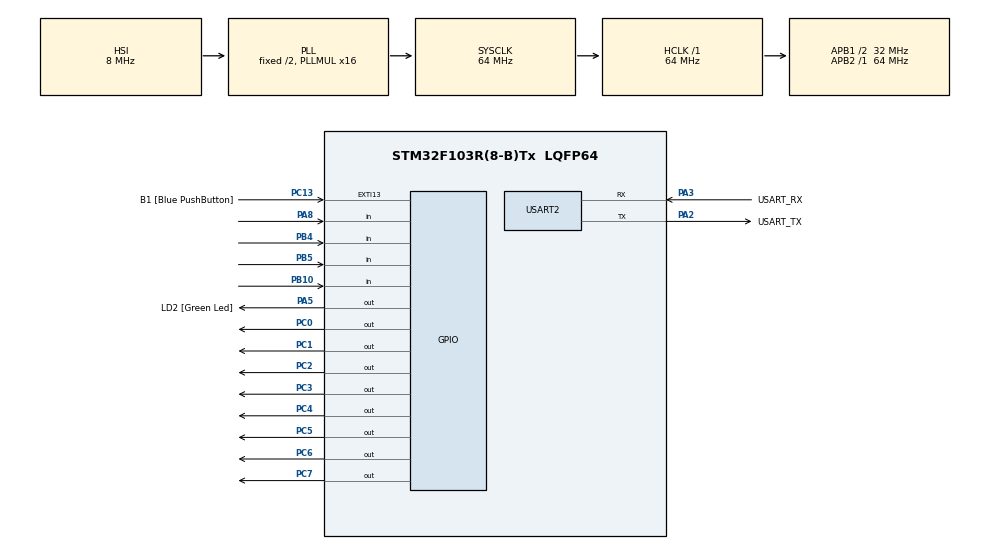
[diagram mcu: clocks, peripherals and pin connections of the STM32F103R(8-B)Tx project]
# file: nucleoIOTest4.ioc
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Mcu.Family=STM32F1
Mcu.Name=STM32F103R(8-B)Tx
Mcu.Package=LQFP64
NVIC.EXTI15_10_IRQn=true\:0\:0\:false\:false\:true\:true\:true\:true
NVIC.PriorityGroup=NVIC_PRIORITYGROUP_4
PA13.GPIO_Label=TMS
PA13.Mode=Serial_Wire
PA13.Signal=SYS_JTMS-SWDIO
PA14.GPIO_Label=TCK
PA14.Mode=Serial_Wire
PA14.Signal=SYS_JTCK-SWCLK
PA2.GPIO_Label=USART_TX
PA2.GPIO_Mode=GPIO_MODE_AF_PP
PA2.GPIO_PuPd=GPIO_NOPULL
PA2.GPIO_Speed=GPIO_SPEED_FREQ_LOW
PA2.Mode=Asynchronous
PA2.Signal=USART2_TX
PA3.GPIO_Label=USART_RX
PA3.GPIO_Mode=GPIO_MODE_AF_PP
PA3.GPIO_PuPd=GPIO_NOPULL
PA3.GPIO_Speed=GPIO_SPEED_FREQ_LOW
PA3.Mode=Asynchronous
PA3.Signal=USART2_RX
PA5.GPIO_Label=LD2 [Green Led]
PA5.GPIO_ModeDefaultOutputPP=GPIO_MODE_OUTPUT_PP
PA5.GPIO_PuPd=GPIO_NOPULL
PA5.GPIO_Speed=GPIO_SPEED_FREQ_LOW
PA5.Signal=GPIO_Output
PA8.Signal=GPIO_Input
PB10.Signal=GPIO_Input
PB3.GPIO_Label=SWO
PB3.Signal=SYS_JTDO-TRACESWO
PB4.Signal=GPIO_Input
PB5.Signal=GPIO_Input
PC0.Signal=GPIO_Output
PC1.Signal=GPIO_Output
PC13-TAMPER-RTC.GPIO_Label=B1 [Blue PushButton]
PC13-TAMPER-RTC.GPIO_PuPd=GPIO_NOPULL
PC13-TAMPER-RTC.Signal=GPXTI13
PC14-OSC32_IN.Mode=LSE-External-Oscillator
PC14-OSC32_IN.Signal=RCC_OSC32_IN
PC15-OSC32_OUT.Mode=LSE-External-Oscillator
PC15-OSC32_OUT.Signal=RCC_OSC32_OUT
PC2.Signal=GPIO_Output
PC3.Signal=GPIO_Output
PC4.Signal=GPIO_Output
PC5.Signal=GPIO_Output
PC6.Signal=GPIO_Output
PC7.Signal=GPIO_Output
PD0-OSC_IN.Mode=HSE-External-Clock-Source
PD0-OSC_IN.Signal=RCC_OSC_IN
PD1-OSC_OUT.Mode=HSE-External-Clock-Source
PD1-OSC_OUT.Signal=RCC_OSC_OUT
ProjectManager.HeapSize=0x200
ProjectManager.StackSize=0x400
ProjectManager.TargetToolchain=STM32CubeIDE
RCC.AHBFreq_Value=64000000
RCC.APB1CLKDivider=RCC_HCLK_DIV2
RCC.APB1Freq_Value=32000000
RCC.APB1TimFreq_Value=64000000
RCC.APB2Freq_Value=64000000
RCC.APB2TimFreq_Value=64000000
RCC.HCLKFreq_Value=64000000
RCC.PLLMUL=RCC_PLL_MUL16
RCC.RTCClockSelection=RCC_RTCCLKSOURCE_LSE
RCC.SYSCLKFreq_VALUE=64000000
RCC.SYSCLKSource=RCC_SYSCLKSOURCE_PLLCLK
RCC.USBFreq_Value=64000000
USART2.VirtualMode=VM_ASYNC
board=NUCLEO-F103RB

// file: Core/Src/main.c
/* USER CODE BEGIN Header */
/**
  ******************************************************************************
  * @file           : main.c
  * @brief          : Main program body
  ******************************************************************************
  * @attention
  *
  * Copyright (c) 2022 STMicroelectronics.
  * All rights reserved.
  *
  * This software is licensed under terms that can be found in the LICENSE file
  * in the root directory of this software component.
  * If no LICENSE file comes with this software, it is provided AS-IS.
  *
  ******************************************************************************
  */
/* USER CODE END Header */
#include "main.h"

 UART_HandleTypeDef huart2;

void SystemClock_Config(void);
static void MX_GPIO_Init(void);
static void MX_USART2_UART_Init(void);

int main(void)
{

  /* MCU Configuration--------------------------------------------------------*/

  /* Reset of all peripherals, Initializes the Flash interface and the Systick. */
  HAL_Init();

  /* Configure the system clock */
  SystemClock_Config();

  /* Initialize all configured peripherals */
  MX_GPIO_Init();
  MX_USART2_UART_Init();
  /* USER CODE BEGIN 2 */
  int swNum = 0;
  /* USER CODE END 2 */

  /* Infinite loop */
  while (1)
  {

    /* USER CODE BEGIN 3 */
	  if(HAL_GPIO_ReadPin(GPIOA, GPIO_PIN_8)==GPIO_PIN_RESET)
	  {
		  HAL_GPIO_WritePin(GPIOC, 0x03, GPIO_PIN_SET);
		  HAL_Delay(2000);
		  HAL_GPIO_WritePin(GPIOC, 0x03, GPIO_PIN_RESET);
	  }
	  else if(HAL_GPIO_ReadPin(GPIOB, GPIO_PIN_4)==GPIO_PIN_RESET)
		  {
			  HAL_GPIO_WritePin(GPIOC, 0x0C, GPIO_PIN_SET);
			  HAL_Delay(2000);
			  HAL_GPIO_WritePin(GPIOC, 0x0C, GPIO_PIN_RESET);
		  }
	  else if(HAL_GPIO_ReadPin(GPIOB, GPIO_PIN_5)==GPIO_PIN_RESET)
		  {
			  HAL_GPIO_WritePin(GPIOC, 0x30, GPIO_PIN_SET);
			  HAL_Delay(2000);
			  HAL_GPIO_WritePin(GPIOC, 0x30, GPIO_PIN_RESET);
		  }
	  else if(HAL_GPIO_ReadPin(GPIOB, GPIO_PIN_10)==GPIO_PIN_RESET)
		  {
			  HAL_GPIO_WritePin(GPIOC, 0xC0, GPIO_PIN_SET);
			  HAL_Delay(2000);
			  HAL_GPIO_WritePin(GPIOC, 0xC0, GPIO_PIN_RESET);
		  }
  }
  /* USER CODE END 3 */
}

void SystemClock_Config(void)
{
  RCC_OscInitTypeDef RCC_OscInitStruct = {0};
  RCC_ClkInitTypeDef RCC_ClkInitStruct = {0};

  /** Initializes the RCC Oscillators according to the specified parameters
  * in the RCC_OscInitTypeDef structure.
  */
  RCC_OscInitStruct.OscillatorType = RCC_OSCILLATORTYPE_HSI;
  RCC_OscInitStruct.HSIState = RCC_HSI_ON;
  RCC_OscInitStruct.HSICalibrationValue = RCC_HSICALIBRATION_DEFAULT;
  RCC_OscInitStruct.PLL.PLLState = RCC_PLL_ON;
  RCC_OscInitStruct.PLL.PLLSource = RCC_PLLSOURCE_HSI_DIV2;
  RCC_OscInitStruct.PLL.PLLMUL = RCC_PLL_MUL16;
  if (HAL_RCC_OscConfig(&RCC_OscInitStruct) != HAL_OK)
  {
    Error_Handler();
  }

  /** Initializes the CPU, AHB and APB buses clocks
  */
  RCC_ClkInitStruct.ClockType = RCC_CLOCKTYPE_HCLK|RCC_CLOCKTYPE_SYSCLK
                              |RCC_CLOCKTYPE_PCLK1|RCC_CLOCKTYPE_PCLK2;
  RCC_ClkInitStruct.SYSCLKSource = RCC_SYSCLKSOURCE_PLLCLK;
  RCC_ClkInitStruct.AHBCLKDivider = RCC_SYSCLK_DIV1;
  RCC_ClkInitStruct.APB1CLKDivider = RCC_HCLK_DIV2;
  RCC_ClkInitStruct.APB2CLKDivider = RCC_HCLK_DIV1;

  if (HAL_RCC_ClockConfig(&RCC_ClkInitStruct, FLASH_LATENCY_2) != HAL_OK)
  {
    Error_Handler();
  }
}

static void MX_USART2_UART_Init(void)
{

  huart2.Instance = USART2;
  huart2.Init.BaudRate = 115200;
  huart2.Init.WordLength = UART_WORDLENGTH_8B;
  huart2.Init.StopBits = UART_STOPBITS_1;
  huart2.Init.Parity = UART_PARITY_NONE;
  huart2.Init.Mode = UART_MODE_TX_RX;
  huart2.Init.HwFlowCtl = UART_HWCONTROL_NONE;
  huart2.Init.OverSampling = UART_OVERSAMPLING_16;
  if (HAL_UART_Init(&huart2) != HAL_OK)
  {
    Error_Handler();
  }

}

static void MX_GPIO_Init(void)
{
  GPIO_InitTypeDef GPIO_InitStruct = {0};

  /* GPIO Ports Clock Enable */
  __HAL_RCC_GPIOC_CLK_ENABLE();
  __HAL_RCC_GPIOD_CLK_ENABLE();
  __HAL_RCC_GPIOA_CLK_ENABLE();
  __HAL_RCC_GPIOB_CLK_ENABLE();

  /*Configure GPIO pin Output Level */
  HAL_GPIO_WritePin(GPIOC, GPIO_PIN_0|GPIO_PIN_1|GPIO_PIN_2|GPIO_PIN_3
                          |GPIO_PIN_4|GPIO_PIN_5|GPIO_PIN_6|GPIO_PIN_7, GPIO_PIN_RESET);

  /*Configure GPIO pin Output Level */
  HAL_GPIO_WritePin(LD2_GPIO_Port, LD2_Pin, GPIO_PIN_RESET);

  /*Configure GPIO pin : B1_Pin */
  GPIO_InitStruct.Pin = B1_Pin;
  GPIO_InitStruct.Mode = GPIO_MODE_IT_RISING;
  GPIO_InitStruct.Pull = GPIO_NOPULL;
  HAL_GPIO_Init(B1_GPIO_Port, &GPIO_InitStruct);

  /*Configure GPIO pins : PC0 PC1 PC2 PC3
                           PC4 PC5 PC6 PC7 */
  GPIO_InitStruct.Pin = GPIO_PIN_0|GPIO_PIN_1|GPIO_PIN_2|GPIO_PIN_3
                          |GPIO_PIN_4|GPIO_PIN_5|GPIO_PIN_6|GPIO_PIN_7;
  GPIO_InitStruct.Mode = GPIO_MODE_OUTPUT_PP;
  GPIO_InitStruct.Pull = GPIO_NOPULL;
  GPIO_InitStruct.Speed = GPIO_SPEED_FREQ_LOW;
  HAL_GPIO_Init(GPIOC, &GPIO_InitStruct);

  /*Configure GPIO pin : LD2_Pin */
  GPIO_InitStruct.Pin = LD2_Pin;
  GPIO_InitStruct.Mode = GPIO_MODE_OUTPUT_PP;
  GPIO_InitStruct.Pull = GPIO_NOPULL;
  GPIO_InitStruct.Speed = GPIO_SPEED_FREQ_LOW;
  HAL_GPIO_Init(LD2_GPIO_Port, &GPIO_InitStruct);

  /*Configure GPIO pins : PB10 PB4 PB5 */
  GPIO_InitStruct.Pin = GPIO_PIN_10|GPIO_PIN_4|GPIO_PIN_5;
  GPIO_InitStruct.Mode = GPIO_MODE_INPUT;
  GPIO_InitStruct.Pull = GPIO_NOPULL;
  HAL_GPIO_Init(GPIOB, &GPIO_InitStruct);

  /*Configure GPIO pin : PA8 */
  GPIO_InitStruct.Pin = GPIO_PIN_8;
  GPIO_InitStruct.Mode = GPIO_MODE_INPUT;
  GPIO_InitStruct.Pull = GPIO_NOPULL;
  HAL_GPIO_Init(GPIOA, &GPIO_InitStruct);

  /* EXTI interrupt init*/
  HAL_NVIC_SetPriority(EXTI15_10_IRQn, 0, 0);
  HAL_NVIC_EnableIRQ(EXTI15_10_IRQn);

}

void Error_Handler(void)
{
  __disable_irq();
  while (1)
  {
  }
}
